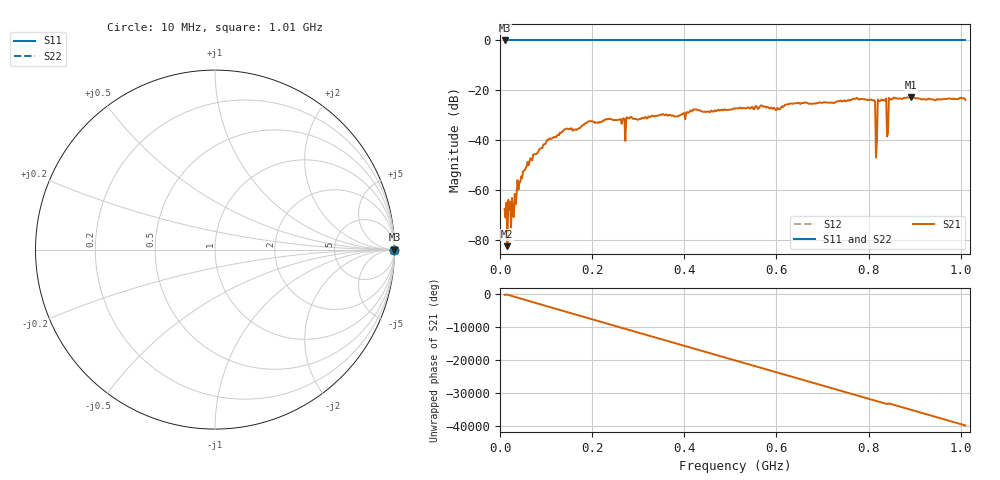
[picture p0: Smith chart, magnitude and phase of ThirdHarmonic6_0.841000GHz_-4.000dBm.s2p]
! 8/16/2025 3:52:14 AM
! C:\ANRITSUVNA\TEMP\TEMP.S2P
! CHANNEL.1
! TR.MEASUREMENT
! RAW.DATA
! RF.CORRECTION.OFF
! AVERAGING.OFF
! IF.BANDWIDTH: 5KHZ
! SWEEPTYPE:  FREQ.SWEEP(Linear)
! Reference Plane Port Info
! PORT:  PORT1  PORT2
! DISTANCE:  0  m  0  m
! TIME:  0  s  0  s
! PHASE.OFFSET:  0  deg.  0  deg.
! LOSS:  0  dB  0  dB
! REF.LOSS:  0  dB  0  dB
! REF.FREQ:  0  Hz  0  Hz
! Power Info
! POWER:  -20  dBm  -20  dBm
! EFF.POWER:  -20  dBm  -20  dBm
! SOURCE.ATTEN:  0  dB  0  dB
! TEST.ATTEN:  0  dB  0  dB
# GHZ S RI R 50.0
! FREQ.GHZ  S11RE  S11IM  S21RE  S21IM  S12RE  S12IM  S22RE  S22IM
!; PortSelection: Port_12
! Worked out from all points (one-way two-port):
!   501 points, 10 MHz to 1.01 GHz, reference 50 ohm
!   highest |S21| = -22.62 dB at 892 MHz (marker M1); lowest = -82.4 dB at 16 MHz (marker M2)
!   lowest |S11| = 0.0 dB at 10 MHz (marker M3)
!   |S11| at or under -10 dB: nowhere
!   |S22| runs from 0.0 to 0.0 dB; largest |S21 - S12| = 1.1
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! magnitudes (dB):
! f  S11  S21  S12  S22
! 10 MHz  0.0  -67.4  0.0  0.0
! 16 MHz  0.0  -82.4  0.0  0.0
! 22 MHz  0.0  -64.6  0.0  0.0
! 28 MHz  0.0  -70.2  0.0  0.0
! 42 MHz  0.0  -56.9  0.0  0.0
! 70 MHz  0.0  -48.0  0.0  0.0
! 106 MHz  0.0  -39.6  0.0  0.0
! 178 MHz  0.0  -34.3  0.0  0.0
! 344 MHz  0.0  -30.1  0.0  0.0
! 510 MHz  0.0  -27.3  0.0  0.0
! 678 MHz  0.0  -25.4  0.0  0.0
! 808 MHz  0.0  -23.9  0.0  0.0
! 810 MHz  0.0  -24.0  0.0  0.0
! 814 MHz  0.0  -24.4  0.0  0.0
! 820 MHz  0.0  -23.7  0.0  0.0
! 824 MHz  0.0  -24.4  0.0  0.0
! 834 MHz  0.0  -23.9  0.0  0.0
! 838 MHz  0.0  -23.2  0.0  0.0
! 844 MHz  0.0  -23.0  0.0  0.0
! 848 MHz  0.0  -23.6  0.0  0.0
! 892 MHz  0.0  -22.6  0.0  0.0
! 1.01 GHz  0.0  -23.8  0.0  0.0
